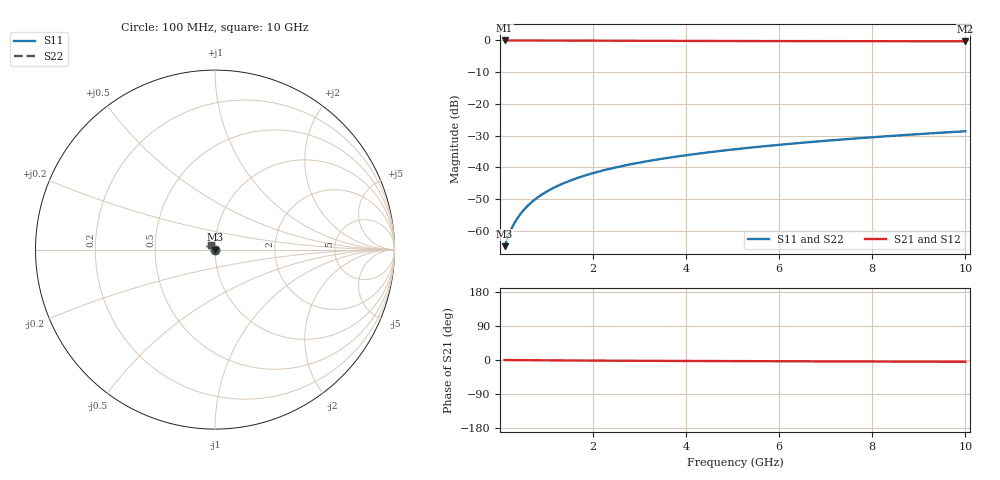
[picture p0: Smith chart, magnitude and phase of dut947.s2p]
! Touchstone file exported from HFSS 2024.1.0
!  File:  C:/UserFiles/LocalFiles/RDL_TSV_Batchsim/temp_TSV1_947_1779948783.aedt
!  Generated:  02:18:29 PM May 28, 2026
!  Design:  TSV1
!  Project:  temp_TSV1_947_1779948783
!  Setup:  Setup1
!  Solution:  Sweep
! Variables:
!  dtsv = 5.46um
!  hbump = 3um
!  htsv = 64.01um
!  lrdl = 252.1521522um
!  p = 40
!  p1 = 57.25um
!  t = 500um
!  trdl = 3um
!  wrdl = 24.89489489um
# GHz S MA R 50.000000
! Terminal data exported
! Port[1] = TSV22_T1
! Port[2] = TSV22_T2
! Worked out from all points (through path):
!   100 points, 100 MHz to 10 GHz, reference 50 ohm
!   highest |S21| = 0.00 dB at 100 MHz (marker M1); lowest = -0.3 dB at 10 GHz (marker M2)
!   lowest |S11| = -64.8 dB at 100 MHz (marker M3), VSWR 1.00, Z = 50 - j0.0429 ohm
!   |S11| at or under -10 dB: start of sweep to end of sweep
!   |S22| runs from -64.8 to -28.6 dB; largest |S21 - S12| = 3.2e-15
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0.1  0.0005761 -48.1  0.9996 -0.1  0.9996 -0.1  0.0005761 -48.1
! Gamma 0 0 0 0
! Port Impedance 50 0 50 0
0.2  0.0009122 -69.8  0.9995 -0.2  0.9995 -0.2  0.0009122 -69.8
0.3  0.001294 -81.0  0.9994 -0.3  0.9994 -0.3  0.001294 -81.0
0.4  0.001693 -88.4  0.9992 -0.4  0.9992 -0.4  0.001693 -88.4
0.5  0.0021 -94.0  0.999 -0.4  0.999 -0.4  0.0021 -94.0
0.6  0.00251 -98.7  0.9988 -0.5  0.9988 -0.5  0.00251 -98.7
0.7  0.002922 -102.8  0.9985 -0.6  0.9985 -0.6  0.002922 -102.8
0.9  0.003744 -110.0  0.9978 -0.8  0.9978 -0.8  0.003744 -110.0
1  0.004154 -113.3  0.9974 -0.9  0.9974 -0.9  0.004154 -113.3
1.2  0.004968 -119.6  0.9966 -1.0  0.9966 -1.0  0.004968 -119.6
1.5  0.006173 -128.2  0.9952 -1.2  0.9952 -1.2  0.006173 -128.2
1.8  0.00736 -136.2  0.9937 -1.4  0.9937 -1.4  0.00736 -136.2
2.1  0.008526 -143.6  0.9921 -1.6  0.9921 -1.6  0.008526 -143.6
2.5  0.01005 -152.7  0.99 -1.9  0.99 -1.9  0.01005 -152.7
2.9  0.01155 -160.9  0.9879 -2.1  0.9879 -2.1  0.01155 -160.9
3.4  0.01339 -170.1  0.9855 -2.3  0.9855 -2.3  0.01339 -170.1
4.2  0.01629 177.3  0.9821 -2.6  0.9821 -2.6  0.01629 177.3
5.1  0.01951 165.8  0.979 -3.0  0.979 -3.0  0.01951 165.8
5.9  0.02237 157.5  0.9768 -3.3  0.9768 -3.3  0.02237 157.5
6.7  0.02522 150.5  0.9751 -3.5  0.9751 -3.5  0.02522 150.5
8.4  0.03133 139.0  0.9723 -4.1  0.9723 -4.1  0.03133 139.0
10  0.03715 131.0  0.9704 -4.7  0.9704 -4.7  0.03715 131.0
